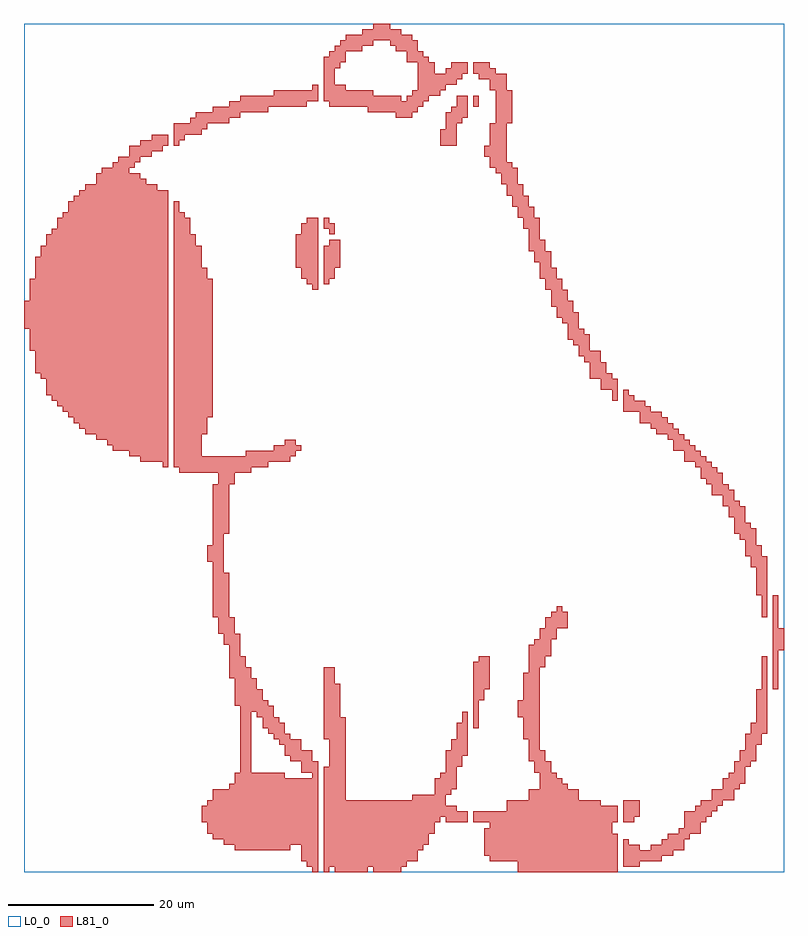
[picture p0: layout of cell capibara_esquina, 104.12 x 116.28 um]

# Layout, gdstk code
import gdstk
lib = gdstk.Library(unit=1e-6, precision=1e-09)
def R(c, l, rs):  # rectangles x0, y0, x1, y1
    for r in rs: c.add(gdstk.rectangle(r[:2], r[2:], *l))
def P(c, l, *ps):  # polygons
    for p in ps: c.add(gdstk.Polygon(p, *l))
L0_0 = (0, 0)
L81_0 = (81, 0)

capibara_esquina = lib.new_cell('capibara_esquina')
R(capibara_esquina, L0_0, [(0,0,104.12,116.28)])
R(capibara_esquina, L81_0, [(61.56,104.88,62.32,106.4)])
P(capibara_esquina, L81_0, [(82.08,6.84),(82.08,9.88),(84.36,9.88),(84.36,7.6),(83.6,7.6),(83.6,6.84)],
  [(41.04,0),(41.04,14.44),(41.8,14.44),(41.8,18.24),(41.04,18.24),(41.04,28.12),(42.56,28.12),(42.56,25.84),(43.32,25.84),(43.32,21.28),(44.08,21.28),(44.08,9.88),(53.2,9.88),(53.2,10.64),(56.24,10.64),(56.24,12.92),(57,12.92),(57,13.68),(57.76,13.68),(57.76,16.72),(58.52,16.72),(58.52,18.24),(59.28,18.24),(59.28,20.52),(60.04,20.52),(60.04,22.04),(60.8,22.04),(60.8,15.96),(60.04,15.96),(60.04,14.44),(59.28,14.44),(59.28,11.4),(58.52,11.4),(58.52,10.64),(57.76,10.64),(57.76,9.12),(59.28,9.12),(59.28,8.36),(60.8,8.36),(60.8,6.84),(57.76,6.84),(57.76,7.6),(57,7.6),(57,6.84),(56.24,6.84),(56.24,5.32),(55.48,5.32),(55.48,3.8),(54.72,3.8),(54.72,3.04),(53.96,3.04),(53.96,1.52),(52.44,1.52),(52.44,0.76),(51.68,0.76),(51.68,0),(47.88,0),(47.88,0.76),(47.12,0.76),(47.12,0),(42.56,0),(42.56,0.76),(41.8,0.76),(41.8,0)],
  [(61.56,19.76),(61.56,28.88),(62.32,28.88),(62.32,29.64),(63.84,29.64),(63.84,25.08),(63.08,25.08),(63.08,23.56),(62.32,23.56),(62.32,19.76)],
  [(82.08,0.76),(82.08,4.56),(82.84,4.56),(82.84,3.8),(84.36,3.8),(84.36,3.04),(85.88,3.04),(85.88,3.8),(87.4,3.8),(87.4,4.56),(88.16,4.56),(88.16,5.32),(89.68,5.32),(89.68,6.08),(90.44,6.08),(90.44,8.36),(91.96,8.36),(91.96,9.12),(92.72,9.12),(92.72,9.88),(94.24,9.88),(94.24,11.4),(95.76,11.4),(95.76,12.92),(96.52,12.92),(96.52,13.68),(97.28,13.68),(97.28,15.2),(98.04,15.2),(98.04,16.72),(98.8,16.72),(98.8,19),(99.56,19),(99.56,20.52),(100.32,20.52),(100.32,25.08),(101.08,25.08),(101.08,29.64),(101.84,29.64),(101.84,19),(101.08,19),(101.08,17.48),(100.32,17.48),(100.32,15.2),(99.56,15.2),(99.56,14.44),(98.8,14.44),(98.8,12.16),(98.04,12.16),(98.04,11.4),(97.28,11.4),(97.28,9.88),(95.76,9.88),(95.76,9.12),(95,9.12),(95,8.36),(94.24,8.36),(94.24,7.6),(93.48,7.6),(93.48,6.84),(92.72,6.84),(92.72,5.32),(91.2,5.32),(91.2,4.56),(90.44,4.56),(90.44,3.04),(88.92,3.04),(88.92,2.28),(87.4,2.28),(87.4,1.52),(84.36,1.52),(84.36,0.76)],
  [(67.64,0),(67.64,1.52),(63.84,1.52),(63.84,2.28),(63.08,2.28),(63.08,6.08),(63.84,6.08),(63.84,6.84),(61.56,6.84),(61.56,8.36),(66.12,8.36),(66.12,9.88),(69.16,9.88),(69.16,11.4),(70.68,11.4),(70.68,13.68),(69.92,13.68),(69.92,15.2),(69.16,15.2),(69.16,18.24),(68.4,18.24),(68.4,21.28),(67.64,21.28),(67.64,23.56),(68.4,23.56),(68.4,27.36),(69.16,27.36),(69.16,31.16),(69.92,31.16),(69.92,31.92),(70.68,31.92),(70.68,33.44),(71.44,33.44),(71.44,34.96),(72.2,34.96),(72.2,35.72),(72.96,35.72),(72.96,36.48),(73.72,36.48),(73.72,35.72),(74.48,35.72),(74.48,33.44),(72.96,33.44),(72.96,31.92),(72.2,31.92),(72.2,29.64),(71.44,29.64),(71.44,28.12),(70.68,28.12),(70.68,16.72),(71.44,16.72),(71.44,15.2),(72.2,15.2),(72.2,13.68),(72.96,13.68),(72.96,12.92),(73.72,12.92),(73.72,12.16),(74.48,12.16),(74.48,11.4),(76,11.4),(76,9.88),(79.04,9.88),(79.04,9.12),(81.32,9.12),(81.32,6.84),(80.56,6.84),(80.56,5.32),(81.32,5.32),(81.32,0)],
  [(102.6,25.08),(102.6,38),(103.36,38),(103.36,33.44),(104.12,33.44),(104.12,30.4),(103.36,30.4),(103.36,25.08)],
  [(101.08,34.96),(101.08,38),(100.32,38),(100.32,41.8),(99.56,41.8),(99.56,43.32),(98.8,43.32),(98.8,45.6),(98.04,45.6),(98.04,46.36),(97.28,46.36),(97.28,48.64),(96.52,48.64),(96.52,50.16),(95.76,50.16),(95.76,51.68),(94.24,51.68),(94.24,53.2),(93.48,53.2),(93.48,53.96),(92.72,53.96),(92.72,55.48),(91.96,55.48),(91.96,56.24),(90.44,56.24),(90.44,57.76),(88.92,57.76),(88.92,59.28),(88.16,59.28),(88.16,60.04),(86.64,60.04),(86.64,60.8),(85.88,60.8),(85.88,61.56),(84.36,61.56),(84.36,63.08),(82.08,63.08),(82.08,66.12),(82.84,66.12),(82.84,65.36),(83.6,65.36),(83.6,64.6),(85.12,64.6),(85.12,63.84),(85.88,63.84),(85.88,63.08),(87.4,63.08),(87.4,62.32),(88.16,62.32),(88.16,61.56),(88.92,61.56),(88.92,60.8),(89.68,60.8),(89.68,60.04),(90.44,60.04),(90.44,59.28),(91.2,59.28),(91.2,58.52),(91.96,58.52),(91.96,57.76),(92.72,57.76),(92.72,57),(93.48,57),(93.48,56.24),(94.24,56.24),(94.24,55.48),(95,55.48),(95,54.72),(95.76,54.72),(95.76,53.2),(96.52,53.2),(96.52,52.44),(97.28,52.44),(97.28,50.92),(98.04,50.92),(98.04,50.16),(98.8,50.16),(98.8,47.88),(99.56,47.88),(99.56,47.12),(100.32,47.12),(100.32,44.84),(101.08,44.84),(101.08,43.32),(101.84,43.32),(101.84,34.96)],
  [(41.04,80.56),(41.04,85.88),(41.8,85.88),(41.8,86.64),(43.32,86.64),(43.32,82.84),(42.56,82.84),(42.56,81.32),(41.8,81.32),(41.8,80.56)],
  [(39.52,79.8),(39.52,80.56),(38.76,80.56),(38.76,81.32),(38,81.32),(38,82.84),(37.24,82.84),(37.24,87.4),(38,87.4),(38,88.92),(38.76,88.92),(38.76,89.68),(40.28,89.68),(40.28,79.8)],
  [(41.8,87.4),(41.8,88.16),(41.04,88.16),(41.04,89.68),(41.8,89.68),(41.8,88.92),(42.56,88.92),(42.56,87.4)],
  [(39.52,0),(39.52,0.76),(38.76,0.76),(38.76,1.52),(38,1.52),(38,3.8),(36.48,3.8),(36.48,3.04),(28.88,3.04),(28.88,3.8),(27.36,3.8),(27.36,4.56),(25.84,4.56),(25.84,5.32),(25.08,5.32),(25.08,6.84),(24.32,6.84),(24.32,9.12),(25.08,9.12),(25.08,9.88),(25.84,9.88),(25.84,11.4),(28.12,11.4),(28.12,12.16),(28.88,12.16),(28.88,13.68),(29.64,13.68),(29.64,22.04),(31.16,22.04),(31.16,13.68),(35.72,13.68),(35.72,12.92),(39.52,12.92),(39.52,13.68),(38,13.68),(38,15.2),(36.48,15.2),(36.48,15.96),(35.72,15.96),(35.72,17.48),(34.96,17.48),(34.96,18.24),(34.2,18.24),(34.2,19),(33.44,19),(33.44,19.76),(32.68,19.76),(32.68,21.28),(31.92,21.28),(31.92,22.04),(29.64,22.04),(29.64,22.8),(28.88,22.8),(28.88,26.6),(28.12,26.6),(28.12,31.16),(27.36,31.16),(27.36,32.68),(26.6,32.68),(26.6,34.96),(25.84,34.96),(25.84,42.56),(25.08,42.56),(25.08,44.84),(25.84,44.84),(25.84,53.2),(26.6,53.2),(26.6,54.72),(21.28,54.72),(21.28,55.48),(20.52,55.48),(20.52,91.96),(21.28,91.96),(21.28,90.44),(22.04,90.44),(22.04,89.68),(22.8,89.68),(22.8,87.4),(23.56,87.4),(23.56,85.88),(24.32,85.88),(24.32,82.84),(25.08,82.84),(25.08,81.32),(25.84,81.32),(25.84,62.32),(25.08,62.32),(25.08,60.04),(24.32,60.04),(24.32,57),(30.4,57),(30.4,57.76),(34.2,57.76),(34.2,58.52),(35.72,58.52),(35.72,59.28),(37.24,59.28),(37.24,58.52),(38,58.52),(38,57.76),(37.24,57.76),(37.24,57),(36.48,57),(36.48,56.24),(33.44,56.24),(33.44,55.48),(31.16,55.48),(31.16,54.72),(28.88,54.72),(28.88,53.2),(28.12,53.2),(28.12,46.36),(27.36,46.36),(27.36,41.04),(28.12,41.04),(28.12,34.96),(28.88,34.96),(28.88,32.68),(29.64,32.68),(29.64,29.64),(30.4,29.64),(30.4,28.12),(31.16,28.12),(31.16,26.6),(31.92,26.6),(31.92,25.08),(32.68,25.08),(32.68,23.56),(33.44,23.56),(33.44,22.8),(34.2,22.8),(34.2,21.28),(34.96,21.28),(34.96,20.52),(35.72,20.52),(35.72,19),(36.48,19),(36.48,18.24),(38,18.24),(38,16.72),(39.52,16.72),(39.52,15.2),(40.28,15.2),(40.28,0)],
  [(19,55.48),(19,56.24),(15.96,56.24),(15.96,57),(14.44,57),(14.44,57.76),(12.16,57.76),(12.16,58.52),(11.4,58.52),(11.4,59.28),(9.88,59.28),(9.88,60.04),(8.36,60.04),(8.36,60.8),(7.6,60.8),(7.6,61.56),(6.84,61.56),(6.84,62.32),(6.08,62.32),(6.08,63.08),(5.32,63.08),(5.32,63.84),(4.56,63.84),(4.56,64.6),(3.8,64.6),(3.8,65.36),(3.04,65.36),(3.04,67.64),(2.28,67.64),(2.28,68.4),(1.52,68.4),(1.52,71.44),(0.76,71.44),(0.76,74.48),(0,74.48),(0,78.28),(0.76,78.28),(0.76,81.32),(1.52,81.32),(1.52,84.36),(2.28,84.36),(2.28,85.88),(3.04,85.88),(3.04,87.4),(3.8,87.4),(3.8,88.16),(4.56,88.16),(4.56,89.68),(5.32,89.68),(5.32,90.44),(6.08,90.44),(6.08,91.96),(6.84,91.96),(6.84,92.72),(7.6,92.72),(7.6,93.48),(8.36,93.48),(8.36,94.24),(9.88,94.24),(9.88,95.76),(10.64,95.76),(10.64,96.52),(12.16,96.52),(12.16,97.28),(12.92,97.28),(12.92,98.04),(14.44,98.04),(14.44,99.56),(15.96,99.56),(15.96,100.32),(17.48,100.32),(17.48,101.08),(19.76,101.08),(19.76,99.56),(19,99.56),(19,98.8),(17.48,98.8),(17.48,98.04),(15.96,98.04),(15.96,97.28),(15.2,97.28),(15.2,96.52),(14.44,96.52),(14.44,95.76),(15.96,95.76),(15.96,95),(16.72,95),(16.72,94.24),(18.24,94.24),(18.24,93.48),(19.76,93.48),(19.76,55.48)],
  [(57,99.56),(57,101.84),(57.76,101.84),(57.76,104.12),(58.52,104.12),(58.52,104.88),(59.28,104.88),(59.28,106.4),(60.8,106.4),(60.8,103.36),(60.04,103.36),(60.04,102.6),(59.28,102.6),(59.28,99.56)],
  [(20.52,99.56),(20.52,102.6),(22.8,102.6),(22.8,103.36),(23.56,103.36),(23.56,104.12),(25.84,104.12),(25.84,104.88),(28.12,104.88),(28.12,105.64),(29.64,105.64),(29.64,106.4),(34.2,106.4),(34.2,107.16),(39.52,107.16),(39.52,107.92),(40.28,107.92),(40.28,105.64),(38.76,105.64),(38.76,104.88),(33.44,104.88),(33.44,104.12),(29.64,104.12),(29.64,103.36),(28.12,103.36),(28.12,102.6),(25.08,102.6),(25.08,101.84),(24.32,101.84),(24.32,101.08),(22.04,101.08),(22.04,100.32),(21.28,100.32),(21.28,99.56)],
  [(80.56,64.6),(80.56,66.12),(79.04,66.12),(79.04,67.64),(77.52,67.64),(77.52,69.92),(76.76,69.92),(76.76,70.68),(76,70.68),(76,72.2),(75.24,72.2),(75.24,72.96),(74.48,72.96),(74.48,75.24),(73.72,75.24),(73.72,76),(72.96,76),(72.96,77.52),(72.2,77.52),(72.2,79.8),(71.44,79.8),(71.44,81.32),(70.68,81.32),(70.68,83.6),(69.92,83.6),(69.92,85.12),(69.16,85.12),(69.16,88.16),(68.4,88.16),(68.4,89.68),(67.64,89.68),(67.64,91.2),(66.88,91.2),(66.88,92.72),(66.12,92.72),(66.12,94.24),(65.36,94.24),(65.36,95.76),(64.6,95.76),(64.6,96.52),(63.84,96.52),(63.84,98.04),(63.08,98.04),(63.08,99.56),(63.84,99.56),(63.84,102.6),(64.6,102.6),(64.6,107.16),(63.84,107.16),(63.84,108.68),(62.32,108.68),(62.32,109.44),(61.56,109.44),(61.56,110.96),(63.84,110.96),(63.84,110.2),(64.6,110.2),(64.6,109.44),(66.12,109.44),(66.12,107.16),(66.88,107.16),(66.88,102.6),(66.12,102.6),(66.12,97.28),(66.88,97.28),(66.88,96.52),(67.64,96.52),(67.64,94.24),(68.4,94.24),(68.4,92.72),(69.16,92.72),(69.16,91.2),(69.92,91.2),(69.92,89.68),(70.68,89.68),(70.68,86.64),(71.44,86.64),(71.44,85.12),(72.2,85.12),(72.2,82.84),(72.96,82.84),(72.96,81.32),(73.72,81.32),(73.72,79.8),(74.48,79.8),(74.48,78.28),(75.24,78.28),(75.24,76.76),(76,76.76),(76,74.48),(76.76,74.48),(76.76,73.72),(77.52,73.72),(77.52,71.44),(79.04,71.44),(79.04,69.92),(79.8,69.92),(79.8,68.4),(80.56,68.4),(80.56,67.64),(81.32,67.64),(81.32,64.6)],
  [(50.92,103.36),(50.92,104.12),(47.12,104.12),(47.12,104.88),(41.8,104.88),(41.8,105.64),(41.04,105.64),(41.04,111.72),(41.8,111.72),(41.8,112.48),(42.56,112.48),(42.56,113.24),(43.32,113.24),(43.32,114),(47.88,114),(47.88,113.24),(46.36,113.24),(46.36,112.48),(44.08,112.48),(44.08,110.96),(43.32,110.96),(43.32,110.2),(42.56,110.2),(42.56,107.92),(44.08,107.92),(44.08,107.16),(47.88,107.16),(47.88,106.4),(51.68,106.4),(51.68,105.64),(52.44,105.64),(52.44,106.4),(53.2,106.4),(53.2,107.16),(53.96,107.16),(53.96,110.96),(52.44,110.96),(52.44,112.48),(50.92,112.48),(50.92,113.24),(50.16,113.24),(50.16,114),(44.08,114),(44.08,114.76),(46.36,114.76),(46.36,115.52),(47.88,115.52),(47.88,116.28),(50.16,116.28),(50.16,115.52),(51.68,115.52),(51.68,114.76),(53.2,114.76),(53.2,114),(53.96,114),(53.96,112.48),(54.72,112.48),(54.72,111.72),(55.48,111.72),(55.48,110.96),(56.24,110.96),(56.24,109.44),(57.76,109.44),(57.76,110.2),(58.52,110.2),(58.52,110.96),(60.8,110.96),(60.8,109.44),(60.04,109.44),(60.04,108.68),(59.28,108.68),(59.28,107.92),(57.76,107.92),(57.76,107.16),(57,107.16),(57,106.4),(55.48,106.4),(55.48,105.64),(54.72,105.64),(54.72,104.88),(53.96,104.88),(53.96,104.12),(53.2,104.12),(53.2,103.36)])

lib.write_gds('capibara_esquina.gds')
